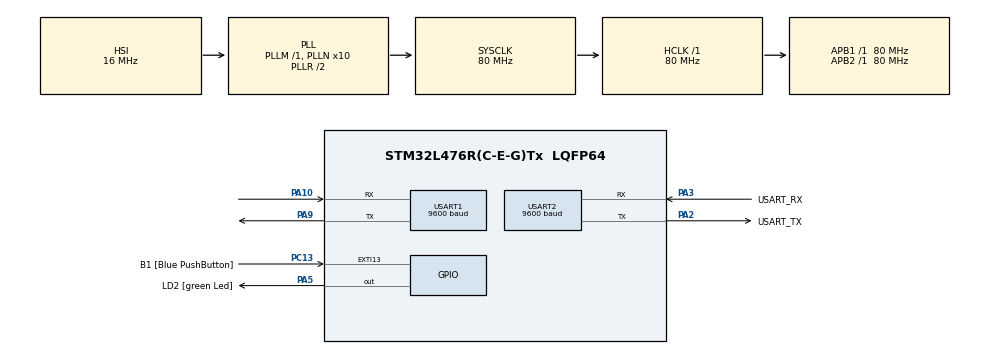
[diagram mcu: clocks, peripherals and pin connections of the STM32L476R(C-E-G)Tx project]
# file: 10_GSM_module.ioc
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Mcu.Family=STM32L4
Mcu.Name=STM32L476R(C-E-G)Tx
Mcu.Package=LQFP64
NVIC.PriorityGroup=NVIC_PRIORITYGROUP_4
PA10.Mode=Asynchronous
PA10.Signal=USART1_RX
PA13\ (JTMS-SWDIO).GPIO_Label=TMS
PA13\ (JTMS-SWDIO).Mode=Serial_Wire
PA13\ (JTMS-SWDIO).Signal=SYS_JTMS-SWDIO
PA14\ (JTCK-SWCLK).GPIO_Label=TCK
PA14\ (JTCK-SWCLK).Mode=Serial_Wire
PA14\ (JTCK-SWCLK).Signal=SYS_JTCK-SWCLK
PA2.GPIO_Label=USART_TX
PA2.GPIO_Mode=GPIO_MODE_AF_PP
PA2.GPIO_PuPd=GPIO_NOPULL
PA2.GPIO_Speed=GPIO_SPEED_FREQ_VERY_HIGH
PA2.Mode=Asynchronous
PA2.Signal=USART2_TX
PA3.GPIO_Label=USART_RX
PA3.GPIO_Mode=GPIO_MODE_AF_PP
PA3.GPIO_PuPd=GPIO_NOPULL
PA3.GPIO_Speed=GPIO_SPEED_FREQ_VERY_HIGH
PA3.Mode=Asynchronous
PA3.Signal=USART2_RX
PA5.GPIO_Label=LD2 [green Led]
PA5.GPIO_ModeDefaultOutputPP=GPIO_MODE_OUTPUT_PP
PA5.GPIO_PuPd=GPIO_NOPULL
PA5.GPIO_Speed=GPIO_SPEED_FREQ_LOW
PA5.Signal=GPIO_Output
PA9.Mode=Asynchronous
PA9.Signal=USART1_TX
PB3\ (JTDO-TRACESWO).GPIO_Label=SWO
PB3\ (JTDO-TRACESWO).Signal=SYS_JTDO-SWO
PC13.GPIO_Label=B1 [Blue PushButton]
PC13.GPIO_ModeDefaultEXTI=GPIO_MODE_IT_FALLING
PC13.GPIO_PuPd=GPIO_NOPULL
PC13.Signal=GPXTI13
PC14-OSC32_IN\ (PC14).Mode=LSE-External-Oscillator
PC14-OSC32_IN\ (PC14).Signal=RCC_OSC32_IN
PC15-OSC32_OUT\ (PC15).Mode=LSE-External-Oscillator
PC15-OSC32_OUT\ (PC15).Signal=RCC_OSC32_OUT
PH0-OSC_IN\ (PH0).Signal=RCC_OSC_IN
PH1-OSC_OUT\ (PH1).Signal=RCC_OSC_OUT
ProjectManager.HeapSize=0x200
ProjectManager.StackSize=0x400
ProjectManager.TargetToolchain=STM32CubeIDE
RCC.ADCFreq_Value=64000000
RCC.AHBFreq_Value=80000000
RCC.APB1Freq_Value=80000000
RCC.APB1TimFreq_Value=80000000
RCC.APB2Freq_Value=80000000
RCC.APB2TimFreq_Value=80000000
RCC.CortexFreq_Value=80000000
RCC.HCLKFreq_Value=80000000
RCC.HSE_VALUE=8000000
RCC.HSI_VALUE=16000000
RCC.MSI_VALUE=4000000
RCC.PLLN=10
RCC.PLLSourceVirtual=RCC_PLLSOURCE_HSI
RCC.PREFETCH_ENABLE=1
RCC.SYSCLKFreq_VALUE=80000000
RCC.SYSCLKSource=RCC_SYSCLKSOURCE_PLLCLK
RCC.USBFreq_Value=64000000
RCC.VCOOutputFreq_Value=160000000
USART1.BaudRate=9600
USART1.VirtualMode-Asynchronous=VM_ASYNC
USART2.BaudRate=9600
USART2.VirtualMode-Asynchronous=VM_ASYNC
board=NUCLEO-L476RG

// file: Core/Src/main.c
/* USER CODE BEGIN Header */
/**
  ******************************************************************************
  * @file           : main.c
  * @brief          : Main program body
  ******************************************************************************
  * @attention
  *
  * Copyright (c) 2025 STMicroelectronics.
  * All rights reserved.
  *
  * This software is licensed under terms that can be found in the LICENSE file
  * in the root directory of this software component.
  * If no LICENSE file comes with this software, it is provided AS-IS.
  *
  ******************************************************************************
  */
/* USER CODE END Header */
#include "main.h"

/* USER CODE BEGIN Includes */
#include<stdio.h>
#include<stdarg.h>
#include<string.h>
/* USER CODE END Includes */

UART_HandleTypeDef huart1;
UART_HandleTypeDef huart2;

void SystemClock_Config(void);
static void MX_GPIO_Init(void);
static void MX_USART2_UART_Init(void);
static void MX_USART1_UART_Init(void);
/* USER CODE BEGIN PFP */
void debug_printf(const char *fmt, ...)
{
	char buffer[256];
	va_list args;
	va_start(args, fmt);
	vsnprintf(buffer, sizeof(buffer), fmt, args);
	va_end(args);
	uint16_t i = 0;
	while(buffer[i] != '\0')
	{
		ITM_SendChar(buffer[i]);
		i++;
	}
}
/* USER CODE END PFP */

/* USER CODE BEGIN 0 */
uint32_t pMillis;
uint32_t Value1 = 0;
uint32_t Value2 = 0;
uint16_t Distance  = 0;

const char *mobile_num = "+917036717717";

void send_cmd(const char *cmd);
void send_sms(const char *number, const char *message);
void wait_for_network(void) {
    int tries = 0;
    char rx_buf[50];
    while (tries < 20) {
        send_cmd("AT+CREG?");
        HAL_Delay(1000);

        // check last response stored in rx_buf (adapt send_cmd to return response)
        if (strstr(rx_buf, "+CREG: 0,1") || strstr(rx_buf, "+CREG: 0,5")) {
            debug_printf("Network Registered!\r\n");
            return;
        }
        tries++;
    }
    debug_printf("Failed to register to network.\r\n");
}
void gsm_soft_reset(void)
{
    send_cmd("AT+CFUN=1,1");   // Full reset
    HAL_Delay(10000);          // Wait ~10 seconds for reboot
}
/* USER CODE END 0 */

int main(void)
{

  /* MCU Configuration--------------------------------------------------------*/

  /* Reset of all peripherals, Initializes the Flash interface and the Systick. */
  HAL_Init();

  /* Configure the system clock */
  SystemClock_Config();

  /* Initialize all configured peripherals */
  MX_GPIO_Init();
  MX_USART2_UART_Init();
  MX_USART1_UART_Init();
  /* USER CODE BEGIN 2 */
  gsm_soft_reset();
	send_cmd("AT");			//To check GSM module response
	send_cmd("ATE0");		//Disable Echo command
	send_cmd("AT+CFUN=1");	//Full Functionality mode
	HAL_Delay(200);
	send_cmd("AT+CPIN?");	//to check SIM status (Response should be "READY")
	HAL_Delay(200);

	send_cmd("AT+CSQ");		//to check signal strength
	HAL_Delay(1000);
	wait_for_network();
//	send_cmd("AT+COPS=1,2,\"40445\"");
//	HAL_Delay(60000);

	//send_cmd("AT+CREG?");	//Network registration checking
/*0 – Not registered, the device is currently not searching for new operator.
1 – Registered to home network.
2 – Not registered, but the device is currently searching for a new operator.
3 – Registration denied.
4 – Unknown. For example, out of range.
5 – Registered, roaming. The device is registered on a foreign (national or international) network.*/
	send_sms(mobile_num, "SMS from SIM800L Object Detection activated");
  /* USER CODE END 2 */

  /* Infinite loop */
  while (1)
  {

  }
}

void SystemClock_Config(void)
{
  RCC_OscInitTypeDef RCC_OscInitStruct = {0};
  RCC_ClkInitTypeDef RCC_ClkInitStruct = {0};

  /** Configure the main internal regulator output voltage
  */
  if (HAL_PWREx_ControlVoltageScaling(PWR_REGULATOR_VOLTAGE_SCALE1) != HAL_OK)
  {
    Error_Handler();
  }

  /** Initializes the RCC Oscillators according to the specified parameters
  * in the RCC_OscInitTypeDef structure.
  */
  RCC_OscInitStruct.OscillatorType = RCC_OSCILLATORTYPE_HSI;
  RCC_OscInitStruct.HSIState = RCC_HSI_ON;
  RCC_OscInitStruct.HSICalibrationValue = RCC_HSICALIBRATION_DEFAULT;
  RCC_OscInitStruct.PLL.PLLState = RCC_PLL_ON;
  RCC_OscInitStruct.PLL.PLLSource = RCC_PLLSOURCE_HSI;
  RCC_OscInitStruct.PLL.PLLM = 1;
  RCC_OscInitStruct.PLL.PLLN = 10;
  RCC_OscInitStruct.PLL.PLLP = RCC_PLLP_DIV7;
  RCC_OscInitStruct.PLL.PLLQ = RCC_PLLQ_DIV2;
  RCC_OscInitStruct.PLL.PLLR = RCC_PLLR_DIV2;
  if (HAL_RCC_OscConfig(&RCC_OscInitStruct) != HAL_OK)
  {
    Error_Handler();
  }

  /** Initializes the CPU, AHB and APB buses clocks
  */
  RCC_ClkInitStruct.ClockType = RCC_CLOCKTYPE_HCLK|RCC_CLOCKTYPE_SYSCLK
                              |RCC_CLOCKTYPE_PCLK1|RCC_CLOCKTYPE_PCLK2;
  RCC_ClkInitStruct.SYSCLKSource = RCC_SYSCLKSOURCE_PLLCLK;
  RCC_ClkInitStruct.AHBCLKDivider = RCC_SYSCLK_DIV1;
  RCC_ClkInitStruct.APB1CLKDivider = RCC_HCLK_DIV1;
  RCC_ClkInitStruct.APB2CLKDivider = RCC_HCLK_DIV1;

  if (HAL_RCC_ClockConfig(&RCC_ClkInitStruct, FLASH_LATENCY_4) != HAL_OK)
  {
    Error_Handler();
  }
}

static void MX_USART1_UART_Init(void)
{

  huart1.Instance = USART1;
  huart1.Init.BaudRate = 9600;
  huart1.Init.WordLength = UART_WORDLENGTH_8B;
  huart1.Init.StopBits = UART_STOPBITS_1;
  huart1.Init.Parity = UART_PARITY_NONE;
  huart1.Init.Mode = UART_MODE_TX_RX;
  huart1.Init.HwFlowCtl = UART_HWCONTROL_NONE;
  huart1.Init.OverSampling = UART_OVERSAMPLING_16;
  huart1.Init.OneBitSampling = UART_ONE_BIT_SAMPLE_DISABLE;
  huart1.AdvancedInit.AdvFeatureInit = UART_ADVFEATURE_NO_INIT;
  if (HAL_UART_Init(&huart1) != HAL_OK)
  {
    Error_Handler();
  }

}

static void MX_USART2_UART_Init(void)
{

  huart2.Instance = USART2;
  huart2.Init.BaudRate = 9600;
  huart2.Init.WordLength = UART_WORDLENGTH_8B;
  huart2.Init.StopBits = UART_STOPBITS_1;
  huart2.Init.Parity = UART_PARITY_NONE;
  huart2.Init.Mode = UART_MODE_TX_RX;
  huart2.Init.HwFlowCtl = UART_HWCONTROL_NONE;
  huart2.Init.OverSampling = UART_OVERSAMPLING_16;
  huart2.Init.OneBitSampling = UART_ONE_BIT_SAMPLE_DISABLE;
  huart2.AdvancedInit.AdvFeatureInit = UART_ADVFEATURE_NO_INIT;
  if (HAL_UART_Init(&huart2) != HAL_OK)
  {
    Error_Handler();
  }

}

static void MX_GPIO_Init(void)
{
  GPIO_InitTypeDef GPIO_InitStruct = {0};

  /* GPIO Ports Clock Enable */
  __HAL_RCC_GPIOC_CLK_ENABLE();
  __HAL_RCC_GPIOH_CLK_ENABLE();
  __HAL_RCC_GPIOA_CLK_ENABLE();
  __HAL_RCC_GPIOB_CLK_ENABLE();

  /*Configure GPIO pin Output Level */
  HAL_GPIO_WritePin(LD2_GPIO_Port, LD2_Pin, GPIO_PIN_RESET);

  /*Configure GPIO pin : B1_Pin */
  GPIO_InitStruct.Pin = B1_Pin;
  GPIO_InitStruct.Mode = GPIO_MODE_IT_FALLING;
  GPIO_InitStruct.Pull = GPIO_NOPULL;
  HAL_GPIO_Init(B1_GPIO_Port, &GPIO_InitStruct);

  /*Configure GPIO pin : LD2_Pin */
  GPIO_InitStruct.Pin = LD2_Pin;
  GPIO_InitStruct.Mode = GPIO_MODE_OUTPUT_PP;
  GPIO_InitStruct.Pull = GPIO_NOPULL;
  GPIO_InitStruct.Speed = GPIO_SPEED_FREQ_LOW;
  HAL_GPIO_Init(LD2_GPIO_Port, &GPIO_InitStruct);

}

/* USER CODE BEGIN 4 */
void send_cmd(const char *cmd)
{
	char tx_buf[100]={0};
	char rx_buf[100]={0};
	uint8_t ch;

	int idx=0;

	snprintf(tx_buf, sizeof(tx_buf), "%s\r\n", cmd);
	HAL_UART_Transmit(&huart1,(uint8_t *)tx_buf,strlen(tx_buf),HAL_MAX_DELAY);
	uint32_t start_tick=HAL_GetTick();

	while((HAL_GetTick()-start_tick)<1000)
	{
		if(HAL_UART_Receive(&huart1, &ch, 1, 10)==HAL_OK)
		{
			if(idx < sizeof(rx_buf)-1)
			{
				rx_buf[idx++]=ch;
			}
			if(strstr(rx_buf,"OK\r\n")||strstr(rx_buf,"ERROR\r\n"))
			{
				break;
			}
		}
	}
	rx_buf[idx]='\0';
	debug_printf("%s Response:\r\n %s \r\n",cmd,rx_buf);
	HAL_Delay(500);
}
void send_sms(const char *number, const char *message)
{
    char cmd[50];
    uint8_t ch;
    char resp[200] = {0};
    int idx = 0;

    // Set text mode
    send_cmd("AT+CMGF=1");
    send_cmd("AT+CSCS=\"GSM\"");

    // Compose CMGS command
    snprintf(cmd, sizeof(cmd), "AT+CMGS=\"%s\"", number);
    HAL_UART_Transmit(&huart1, (uint8_t *)cmd, strlen(cmd), HAL_MAX_DELAY);
    HAL_UART_Transmit(&huart1, (uint8_t *)"\r", 1, HAL_MAX_DELAY);

    uint32_t start = HAL_GetTick();
    while ((HAL_GetTick() - start) < 3000)
    {
        if (HAL_UART_Receive(&huart1, &ch, 1, 100) == HAL_OK)
        {
            resp[idx++] = ch;
            if (ch == '>') break;
        }
    }

    if (!strchr(resp, '>')) {
    	debug_printf("Didn't receive '>' prompt. SMS not sent.\r\n");
        return;
    }

    debug_printf("Sending SMS to %s...\r\n", number);
    HAL_UART_Transmit(&huart1, (uint8_t *)message, strlen(message), HAL_MAX_DELAY);

    // CTRL+Z(command value 26) to end SMS
    uint8_t end_char = 0x1A;
    HAL_UART_Transmit(&huart1, &end_char, 1, HAL_MAX_DELAY);

    idx = 0;
    memset(resp, 0, sizeof(resp));
    start = HAL_GetTick();
    while ((HAL_GetTick() - start) < 5000)
    {
        if (HAL_UART_Receive(&huart1, &ch, 1, 100) == HAL_OK)
        {
            resp[idx++] = ch;
            if (strstr(resp, "OK\r\n") || strstr(resp, "ERROR\r\n"))
                break;
        }
    }

    debug_printf("SMS Send Response:\r\n%s\r\n", resp);
}

/* USER CODE END 4 */

void Error_Handler(void)
{
  __disable_irq();
  while (1)
  {
  }
}
